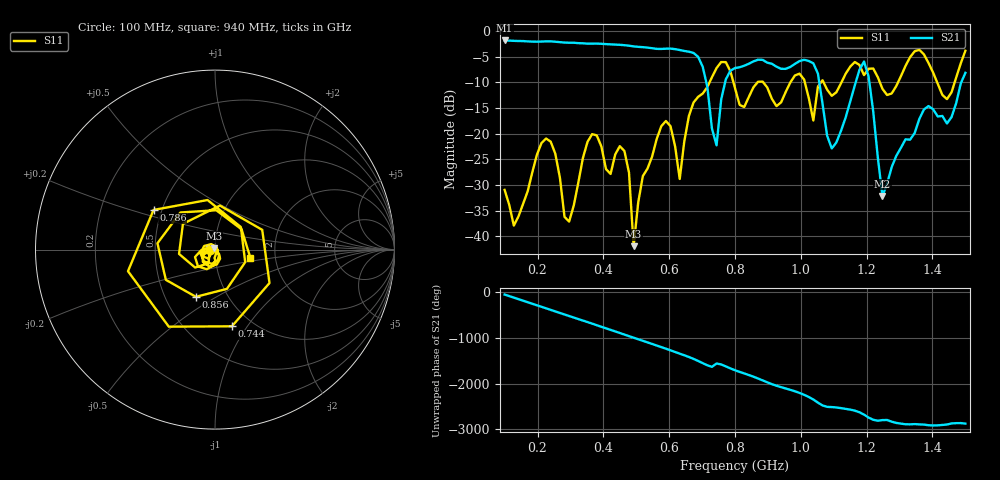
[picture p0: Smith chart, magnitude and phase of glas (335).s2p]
! NanoVNA-App
! Date: 2025-09-25 15:58:05
! Start: 100MHz Stop: 1,5GHz Points: 101
! S-Parameter data: F S11 S21 S12 S22
# Hz S RI R 50
!  Frequency  S11_Real  S11_Imag  S21_Real  S21_Imag  S12_Real  S12_Imag  S22_Real  S22_Imag
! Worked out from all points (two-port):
!   101 points, 100 MHz to 1.5 GHz, reference 50 ohm
!   highest |S21| = -1.80 dB at 100 MHz (marker M1); lowest = -32.1 dB at 1.248 GHz (marker M2)
!   |S21| within 3 dB of the highest: start of sweep to 684.3 MHz
!   lowest |S11| = -41.9 dB at 492 MHz (marker M3), VSWR 1.02, Z = 49.5 + j0.608 ohm
!   |S11| at or under -10 dB: start of sweep to 722.5 MHz; 795.4 MHz to 868.1 MHz (72.73 MHz wide, 8.74 % of centre); 886.1 MHz to 968 MHz (81.87 MHz wide, 8.83 % of centre)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
!   S12 and S22 are empty: the file has one direction only
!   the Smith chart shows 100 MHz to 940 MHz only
!   S11 on the Smith chart (normalised r, x): 100 MHz: 0.95, -0.01; 744 MHz: 0.81, -0.85; 786 MHz: 0.45, +0.24; 856 MHz: 0.71, -0.41; 940 MHz: 1.48, -0.14
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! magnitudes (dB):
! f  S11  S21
! 100 MHz  -30.9  -1.8
! 128 MHz  -37.9  -1.9
! 226 MHz  -20.9  -2.0
! 296 MHz  -37.1  -2.2
! 338 MHz  -24.7  -2.4
! 464 MHz  -23.4  -2.7
! 492 MHz  -41.9  -3.0
! 576 MHz  -18.5  -3.5
! 632 MHz  -28.8  -3.7
! 702 MHz  -12.2  -6.9
! 744 MHz  -7.2  -22.2
! 786 MHz  -7.8  -7.7
! 800 MHz  -11.1  -7.2
! 856 MHz  -10.9  -5.9
! 940 MHz  -13.9  -7.3
! 996 MHz  -8.3  -5.8
! 1.038 GHz  -17.4  -6.3
! 1.094 GHz  -12.6  -22.9
! 1.192 GHz  -8.6  -5.9
! 1.248 GHz  -11.2  -32.1
! 1.276 GHz  -12.1  -26.5
! 1.5 GHz  -3.8  -8.1
